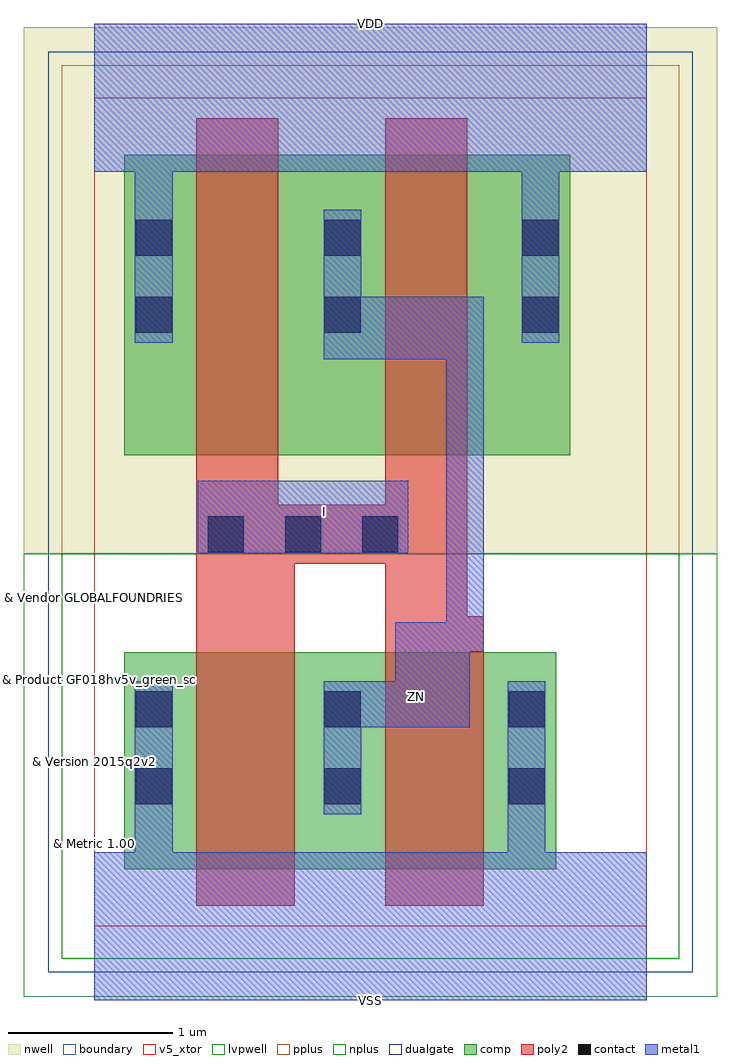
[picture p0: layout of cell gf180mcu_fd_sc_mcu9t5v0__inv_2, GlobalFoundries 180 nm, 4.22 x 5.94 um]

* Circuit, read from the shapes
.subckt gf180mcu_fd_sc_mcu9t5v0__inv_2 I VDD VSS ZN
XM1 ZN I VSS VSUBS nfet_05v0 w=1.32u l=0.6u m=2
XM2 ZN I VDD n1 pfet_05v0 w=1.83u l=0.5u m=2
.ends

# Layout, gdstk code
import gdstk
lib = gdstk.Library(unit=1e-6, precision=1e-09)
def R(c, l, rs):  # rectangles x0, y0, x1, y1
    for r in rs: c.add(gdstk.rectangle(r[:2], r[2:], *l))
def A(c, l, x, y, w, h, nx, ny, dx, dy):  # array of equal rectangles
    R(c, l, [(x+i*dx, y+j*dy, x+i*dx+w, y+j*dy+h) for i in range(nx) for j in range(ny)])
def P(c, l, *ps):  # polygons
    for p in ps: c.add(gdstk.Polygon(p, *l))
boundary = (0, 0)
nwell = (21, 0)
comp = (22, 0)
poly2 = (30, 0)
pplus = (31, 0)
nplus = (32, 0)
contact = (33, 0)
metal1 = (34, 0)
dualgate = (55, 0)
v5_xtor = (112, 1)
lvpwell = (204, 0)

gf180mcu_fd_sc_mcu9t5v0_ = lib.new_cell('gf180mcu_fd_sc_mcu9t5v0__inv_2')
R(gf180mcu_fd_sc_mcu9t5v0_, boundary, [(0,0,3.36,5.04)])
R(gf180mcu_fd_sc_mcu9t5v0_, nwell, [(-0.43,2.265,3.79,5.47)])
R(gf180mcu_fd_sc_mcu9t5v0_, comp, [(0.18,0.345,2.81,1.665), (0.18,2.865,2.895,4.695)])
P(gf180mcu_fd_sc_mcu9t5v0_, poly2, [(0.62,0.125),(0.62,4.915),(1.12,4.915),(1.12,2.565),(1.77,2.565),(1.77,4.915),(2.27,4.915),(2.27,1.885),(2.37,1.885),(2.37,0.125),(1.77,0.125),(1.77,2.205),(1.22,2.205),(1.22,0.125)])
R(gf180mcu_fd_sc_mcu9t5v0_, pplus, [(-0.2,2.265,3.56,5.24)])
R(gf180mcu_fd_sc_mcu9t5v0_, nplus, [(-0.2,-0.2,3.56,2.265)])
A(gf180mcu_fd_sc_mcu9t5v0_, contact, 0.69, 2.275, 0.22, 0.22, 3, 1, 0.47, 0)
R(gf180mcu_fd_sc_mcu9t5v0_, contact, [(0.25,0.74,0.47,0.96), (1.4,0.74,1.62,0.96), (2.52,0.74,2.74,0.96), (0.25,1.21,0.47,1.43), (1.4,1.21,1.62,1.43), (2.52,1.21,2.74,1.43), (0.25,3.61,0.47,3.83), (1.4,3.61,1.62,3.83), (2.605,3.61,2.825,3.83), (0.25,4.08,0.47,4.3), (1.4,4.08,1.62,4.3), (2.605,4.08,2.825,4.3)])
R(gf180mcu_fd_sc_mcu9t5v0_, metal1, [(0.63,2.27,1.91,2.71)])
P(gf180mcu_fd_sc_mcu9t5v0_, metal1, [(1.395,0.68),(1.395,1.49),(1.83,1.49),(1.83,1.85),(2.14,1.85),(2.14,3.45),(1.395,3.45),(1.395,4.36),(1.625,4.36),(1.625,3.83),(2.37,3.83),(2.37,1.67),(2.285,1.67),(2.285,1.21),(1.625,1.21),(1.625,0.68)],
  [(0,-0.45),(0,0.45),(0.245,0.45),(0.245,1.49),(0.475,1.49),(0.475,0.45),(2.515,0.45),(2.515,1.49),(2.745,1.49),(2.745,0.45),(3.36,0.45),(3.36,-0.45)],
  [(0.245,3.55),(0.245,4.59),(0,4.59),(0,5.49),(3.36,5.49),(3.36,4.59),(2.83,4.59),(2.83,3.55),(2.6,3.55),(2.6,4.59),(0.475,4.59),(0.475,3.55)])
R(gf180mcu_fd_sc_mcu9t5v0_, dualgate, [(-0.28,-0.28,3.64,5.32)])
R(gf180mcu_fd_sc_mcu9t5v0_, v5_xtor, [(0,0,3.36,5.04)])
R(gf180mcu_fd_sc_mcu9t5v0_, lvpwell, [(-0.43,-0.43,3.79,2.265)])
gf180mcu_fd_sc_mcu9t5v0_.add(gdstk.Label('I', (1.4,2.52), layer=34, texttype=10))
gf180mcu_fd_sc_mcu9t5v0_.add(gdstk.Label('VDD', (1.68,5.49), layer=34, texttype=10))
gf180mcu_fd_sc_mcu9t5v0_.add(gdstk.Label('VSS', (1.68,-0.45), layer=34, texttype=10))
gf180mcu_fd_sc_mcu9t5v0_.add(gdstk.Label('ZN', (1.96,1.4), layer=34, texttype=10))
gf180mcu_fd_sc_mcu9t5v0_.add(gdstk.Label('& Vendor GLOBALFOUNDRIES', (0,2), layer=63, texttype=63))
gf180mcu_fd_sc_mcu9t5v0_.add(gdstk.Label('& Product GF018hv5v_green_sc9', (0,1.5), layer=63, texttype=63))
gf180mcu_fd_sc_mcu9t5v0_.add(gdstk.Label('& Version 2015q2v2', (0,1), layer=63, texttype=63))
gf180mcu_fd_sc_mcu9t5v0_.add(gdstk.Label('& Metric 1.00', (0,0.5), layer=63, texttype=63))

lib.write_gds('gf180mcu_fd_sc_mcu9t5v0__inv_2.gds')
